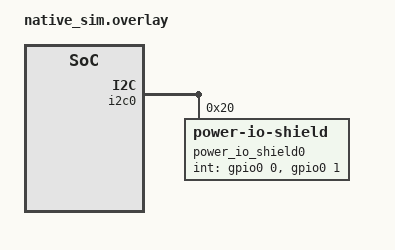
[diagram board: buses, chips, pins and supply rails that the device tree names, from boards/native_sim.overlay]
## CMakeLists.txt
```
# Copyright (C) Frickly Systems GmbH
# Copyright (C) MBition GmbH
#
# SPDX-License-Identifier: Apache-2.0

cmake_minimum_required(VERSION 3.20.0)

find_package(Zephyr REQUIRED HINTS $ENV{ZEPHYR_BASE})

project(test_power_io_shield)

FILE(GLOB app_sources src/*.c)
target_sources(app PRIVATE ${app_sources})
```

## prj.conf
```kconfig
CONFIG_ZTEST=y
CONFIG_ASSERT=y

CONFIG_LOG=y
CONFIG_LOG_INFO_COLOR_GREEN=y

CONFIG_I2C=y
CONFIG_GPIO=y
CONFIG_POWER_IO_SHIELD=y

CONFIG_EMUL=y
CONFIG_EMUL_POWER_IO_SHIELD=y
```

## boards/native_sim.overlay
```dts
/*
 * Copyright (C) Frickly Systems GmbH
 * Copyright (C) MBition GmbH
 *
 * SPDX-License-Identifier: Apache-2.0
 */

&i2c0 {
	power_io_shield0: power_io_shield0@20 {
		compatible = "power-io-shield";
		int-gpios = <&gpio0 0 GPIO_ACTIVE_HIGH>, <&gpio0 1 GPIO_ACTIVE_HIGH>;
		reg = <0x20>;
		gpio-controller;
		#gpio-cells = <2>;
	};
};
```

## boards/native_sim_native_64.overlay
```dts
/*
 * Copyright (C) Frickly Systems GmbH
 * Copyright (C) MBition GmbH
 *
 * SPDX-License-Identifier: Apache-2.0
 */
 
#include "native_sim.overlay"
```

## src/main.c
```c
/*
 * Copyright (C) Frickly Systems GmbH
 * Copyright (C) MBition GmbH
 *
 * SPDX-License-Identifier: Apache-2.0
 */

#include "devices.h"
#include "regs.h"

#include <zephyr/drivers/gpio.h>
#include <zephyr/drivers/gpio/gpio_emul.h>
#include <zephyr/fff.h>
#include <zephyr/ztest.h>

#include <ardep/drivers/emul/power_io_shield.h>
#include <ardep/dt-bindings/power-io-shield.h>

DEFINE_FFF_GLOBALS;

ZTEST_SUITE(mcp_driver, NULL, NULL, NULL, NULL, NULL);

ZTEST(mcp_driver, test_iodir_and_iocon_init) {
  zassert_equal(
      power_io_shield_emul_get_u16_reg(power_io_shield_emul, REG_IODIRA),
      0x7F03);
  zassert_equal(
      power_io_shield_emul_get_u16_reg(power_io_shield_emul, REG_IOCONA),
      0x4444);
}

ZTEST(mcp_driver, test_set_output_0) {
  zassert_equal(gpio_pin_set(power_io_shield, POWER_IO_SHIELD_OUTPUT(0), 1), 0);
  zassert_equal(
      power_io_shield_emul_get_u16_reg(power_io_shield_emul, REG_GPIOA),
      0x0004);  // Bank A: 0x04, Bank B: 0x00

  zassert_equal(gpio_pin_set(power_io_shield, POWER_IO_SHIELD_OUTPUT(0), 0), 0);
  zassert_equal(
      power_io_shield_emul_get_u16_reg(power_io_shield_emul, REG_GPIOA),
      0x0000);
}

ZTEST(mcp_driver, test_set_output_5) {
  zassert_equal(gpio_pin_set(power_io_shield, POWER_IO_SHIELD_OUTPUT(5), 1), 0);
  zassert_equal(
      power_io_shield_emul_get_u16_reg(power_io_shield_emul, REG_GPIOA),
      0x0080);  // Bank A: 0x80, Bank B: 0x00

  zassert_equal(gpio_pin_set(power_io_shield, POWER_IO_SHIELD_OUTPUT(5), 0), 0);
  zassert_equal(
      power_io_shield_emul_get_u16_reg(power_io_shield_emul, REG_GPIOA),
      0x0000);
}

ZTEST(mcp_driver, test_read_inputs_and_faults) {
  gpio_port_value_t value;

  // note the xor for 0x3f00, this is for the hard-inverted input pins
  power_io_shield_emul_set_u16_reg(
      power_io_shield_emul, REG_GPIOA,
      0xD242 ^ 0x3f00);  // set input 1 and 4, fault 0 and 2

  zassert_equal(gpio_port_get(power_io_shield, &value), 0);
  zassert_equal((value >> POWER_IO_SHIELD_INPUT_BASE) & 0x3F, 0b10010);
  zassert_equal((value >> POWER_IO_SHIELD_FAULT_BASE) & 0x7, 0b101);

  power_io_shield_emul_set_u16_reg(power_io_shield_emul, REG_GPIOA,
                                   0x0003 ^ 0x3f00);  // set fault 1 and 2
  zassert_equal(gpio_port_get(power_io_shield, &value), 0);
  zassert_equal((value >> POWER_IO_SHIELD_FAULT_BASE), 0b110);

  // reset register to 0 (inputs are all high then)
  power_io_shield_emul_set_u16_reg(power_io_shield_emul, REG_GPIOA, 0x0000);
  zassert_equal(gpio_port_get(power_io_shield, &value), 0);
  zassert_equal(value, 0x3f << POWER_IO_SHIELD_INPUT_BASE);
}

ZTEST(mcp_driver, test_configure_outputs) {
  // configure with active flag (meaning active on configure)
  zassert_equal(gpio_pin_configure(power_io_shield, POWER_IO_SHIELD_OUTPUT(0),
                                   GPIO_OUTPUT_ACTIVE),
                0);
  zassert_equal(
      power_io_shield_emul_get_u16_reg(power_io_shield_emul, REG_GPIOA),
      0x0004);

  // reconfigure without ACTIVE flag
  zassert_equal(gpio_pin_configure(power_io_shield, POWER_IO_SHIELD_OUTPUT(0),
                                   GPIO_OUTPUT),
                0);

  zassert_equal(
      power_io_shield_emul_get_u16_reg(power_io_shield_emul, REG_GPIOA),
      0x0000);

  // try to configure with invalid flags
  zassert_not_equal(gpio_pin_configure(power_io_shield,
                                       POWER_IO_SHIELD_OUTPUT(0), GPIO_INPUT),
                    0);
  zassert_not_equal(
      gpio_pin_configure(power_io_shield, POWER_IO_SHIELD_OUTPUT(0),
                         GPIO_OUTPUT | GPIO_OPEN_DRAIN),
      0);
  zassert_not_equal(
      gpio_pin_configure(power_io_shield, POWER_IO_SHIELD_OUTPUT(0),
                         GPIO_OUTPUT | GPIO_PULL_UP),
      0);
  zassert_not_equal(
      gpio_pin_configure(power_io_shield, POWER_IO_SHIELD_OUTPUT(0),
                         GPIO_OUTPUT | GPIO_PULL_DOWN),
      0);
}

ZTEST(mcp_driver, test_configure_inputs) {
  zassert_equal(
      gpio_pin_configure(power_io_shield, POWER_IO_SHIELD_INPUT(0), GPIO_INPUT),
      0);
  zassert_not_equal(
      gpio_pin_configure(power_io_shield, POWER_IO_SHIELD_INPUT(0),
                         GPIO_INPUT | GPIO_PULL_DOWN),
      0);
  zassert_not_equal(
      gpio_pin_configure(power_io_shield, POWER_IO_SHIELD_INPUT(0),
                         GPIO_INPUT | GPIO_PULL_UP),
      0);
  zassert_not_equal(gpio_pin_configure(power_io_shield,
                                       POWER_IO_SHIELD_INPUT(0), GPIO_OUTPUT),
                    0);
}

ZTEST(mcp_driver, test_setting_input_pin_is_ignored) {
  zassert_equal(gpio_pin_set(power_io_shield, POWER_IO_SHIELD_INPUT(0), 1), 0);
  zassert_equal(gpio_pin_set(power_io_shield, POWER_IO_SHIELD_INPUT(4), 1), 0);
  zassert_equal(
      power_io_shield_emul_get_u16_reg(power_io_shield_emul, REG_GPIOA),
      0x0000);
}

ZTEST(mcp_driver, test_setting_fault_pin_is_ignored) {
  zassert_equal(gpio_pin_set(power_io_shield, POWER_IO_SHIELD_FAULT(0), 1), 0);
  zassert_equal(gpio_pin_set(power_io_shield, POWER_IO_SHIELD_FAULT(2), 1), 0);
  zassert_equal(
      power_io_shield_emul_get_u16_reg(power_io_shield_emul, REG_GPIOA),
      0x0000);
}
```

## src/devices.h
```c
/*
 * Copyright (C) Frickly Systems GmbH
 * Copyright (C) MBition GmbH
 *
 * SPDX-License-Identifier: Apache-2.0
 */

#include <zephyr/device.h>
#include <zephyr/drivers/emul.h>
#include <zephyr/drivers/gpio.h>
#include <zephyr/drivers/gpio/gpio_emul.h>

static const struct device* power_io_shield =
    DEVICE_DT_GET(DT_NODELABEL(power_io_shield0));
static const struct emul* power_io_shield_emul =
    EMUL_DT_GET(DT_NODELABEL(power_io_shield0));
```

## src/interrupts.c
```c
/*
 * Copyright (C) Frickly Systems GmbH
 * Copyright (C) MBition GmbH
 *
 * SPDX-License-Identifier: Apache-2.0
 */

#include "devices.h"
#include "regs.h"

#include <zephyr/drivers/gpio.h>
#include <zephyr/drivers/gpio/gpio_emul.h>
#include <zephyr/fff.h>
#include <zephyr/ztest.h>

#include <ardep/drivers/emul/power_io_shield.h>
#include <ardep/dt-bindings/power-io-shield.h>

static const struct device* gpio0 = DEVICE_DT_GET(DT_NODELABEL(gpio0));

FAKE_VOID_FUNC(gpio_demo_interrupt,
               const struct device*,
               struct gpio_callback*,
               gpio_port_pins_t);

static void after_each() { RESET_FAKE(gpio_demo_interrupt); }

ZTEST_SUITE(mcp_driver_interrupts, NULL, NULL, NULL, after_each, NULL);

ZTEST(mcp_driver_interrupts,
      test_configuring_output_as_interrput_is_not_supported) {
  zassert_equal(
      gpio_pin_interrupt_configure(power_io_shield, POWER_IO_SHIELD_OUTPUT(0),
                                   GPIO_INT_EDGE_TO_ACTIVE),
      -ENOTSUP);
}

ZTEST(mcp_driver_interrupts, test_rising_edge_interrupt) {
  struct gpio_callback callback;
  gpio_init_callback(&callback, gpio_demo_interrupt,
                     BIT(POWER_IO_SHIELD_INPUT(0)));
  zassert_equal(gpio_add_callback(power_io_shield, &callback), 0);

  zassert_equal(
      gpio_pin_interrupt_configure(power_io_shield, POWER_IO_SHIELD_INPUT(0),
                                   GPIO_INT_EDGE_TO_ACTIVE),
      0);

  // Interrupt should be configured for the chip
  zassert_equal(
      power_io_shield_emul_get_u16_reg(power_io_shield_emul, REG_GPINTENA),
      0x0100);  // gpinten
  zassert_equal(
      power_io_shield_emul_get_u16_reg(power_io_shield_emul, REG_INTCONA),
      0x0000);  // intcon
  zassert_equal(
      power_io_shield_emul_get_u16_reg(power_io_shield_emul, REG_DEFVALA),
      0x0000);  // defval

  // nothing should happen when not INTF is set
  zassert_equal(gpio_emul_input_set(gpio0, 0, 1), 0);
  k_yield();
  zassert_equal(gpio_emul_input_set(gpio0, 0, 0), 0);
  zassert_equal(gpio_demo_interrupt_fake.call_count, 0);

  // set INTF and INTCAP to simulate rising edge interrupt

  // note the inversion for the input pins (0x3f00)
  power_io_shield_emul_set_u16_reg(power_io_shield_emul, REG_INTFA,
                                   0x0100);  // input pin 0
  power_io_shield_emul_set_u16_reg(power_io_shield_emul, REG_INTCAPA,
                                   0x0100 ^ 0x3f00);  // input pin 0

  // set interrupt gpio to 1
  zassert_equal(gpio_emul_input_set(gpio0, 0, 1), 0);
  k_yield();
  zassert_equal(gpio_demo_interrupt_fake.call_count, 1);
  zassert_equal(gpio_demo_interrupt_fake.arg0_val, power_io_shield);
  zassert_equal(gpio_demo_interrupt_fake.arg1_val, &callback);
  zassert_equal(gpio_demo_interrupt_fake.arg2_val,
                BIT(POWER_IO_SHIELD_INPUT(0)));
  k_msleep(10);  // wait a bit to check that no further ISR calls happen
  zassert_equal(gpio_emul_input_set(gpio0, 0, 0), 0);
  k_msleep(10);
  zassert_equal(gpio_demo_interrupt_fake.call_count, 1);

  // reset
  power_io_shield_emul_set_reg(power_io_shield_emul, 0x11, 0x00);
  power_io_shield_emul_set_reg(power_io_shield_emul, 0x0F, 0x00);

  zassert_equal(gpio_remove_callback(power_io_shield, &callback), 0);
  zassert_equal(
      gpio_pin_interrupt_configure(power_io_shield, POWER_IO_SHIELD_INPUT(0),
                                   GPIO_INT_DISABLE),
      0);
}

ZTEST(mcp_driver_interrupts, test_fault_interrupt) {
  struct gpio_callback callback;
  gpio_init_callback(
      &callback, gpio_demo_interrupt,
      BIT(POWER_IO_SHIELD_FAULT(0)) | BIT(POWER_IO_SHIELD_FAULT(1)));
  zassert_equal(gpio_add_callback(power_io_shield, &callback), 0);

  zassert_equal(
      gpio_pin_interrupt_configure(power_io_shield, POWER_IO_SHIELD_FAULT(0),
                                   GPIO_INT_EDGE_TO_ACTIVE),
      0);
  zassert_equal(
      gpio_pin_interrupt_configure(power_io_shield, POWER_IO_SHIELD_FAULT(1),
                                   GPIO_INT_EDGE_TO_ACTIVE),
      0);

  // Interrupt should be configured for the chip
  zassert_equal(
      power_io_shield_emul_get_u16_reg(power_io_shield_emul, REG_GPINTENA),
      0x4001);  // gpinten
  zassert_equal(
      power_io_shield_emul_get_u16_reg(power_io_shield_emul, REG_INTCONA),
      0x0000);  // intcon
  zassert_equal(
      power_io_shield_emul_get_u16_reg(power_io_shield_emul, REG_DEFVALA),
      0x0000);  // defval

  // nothing should happen when not INTF is set
  zassert_equal(gpio_emul_input_set(gpio0, 0, 1), 0);
  k_yield();
  zassert_equal(gpio_emul_input_set(gpio0, 0, 0), 0);
  zassert_equal(gpio_demo_interrupt_fake.call_count, 0);

  // set INTF and INTCAP to simulate rising edge interrupt
  power_io_shield_emul_set_u16_reg(power_io_shield_emul, REG_INTFA,
                                   0x4001);  // fault 0 and 1
  power_io_shield_emul_set_u16_reg(power_io_shield_emul, REG_INTCAPA,
                                   0x4001 ^ 0x3f00);  // fault 0 and 1

  // trigger interrupt pin rising
  zassert_equal(gpio_emul_input_set(gpio0, 0, 1), 0);
  k_yield();
  zassert_equal(gpio_demo_interrupt_fake.call_count, 1);
  zassert_equal(gpio_demo_interrupt_fake.arg0_val, power_io_shield);
  zassert_equal(gpio_demo_interrupt_fake.arg1_val, &callback);
  zassert_equal(gpio_demo_interrupt_fake.arg2_val,
                BIT(POWER_IO_SHIELD_FAULT(0)) | BIT(POWER_IO_SHIELD_FAULT(1)));
  zassert_equal(gpio_emul_input_set(gpio0, 0, 0), 0);

  // reset
  power_io_shield_emul_set_u16_reg(power_io_shield_emul, REG_INTFA, 0x0000);
  power_io_shield_emul_set_u16_reg(power_io_shield_emul, REG_INTCAPA, 0x0000);

  zassert_equal(gpio_remove_callback(power_io_shield, &callback), 0);
  zassert_equal(
      gpio_pin_interrupt_configure(power_io_shield, POWER_IO_SHIELD_FAULT(0),
                                   GPIO_INT_DISABLE),
      0);
  zassert_equal(
      gpio_pin_interrupt_configure(power_io_shield, POWER_IO_SHIELD_FAULT(1),
                                   GPIO_INT_DISABLE),
      0);
}

static int counter = 20;
static void demo_interrupt_custom_handler(const struct device* a,
                                          struct gpio_callback* b,
                                          gpio_port_pins_t c) {
  ARG_UNUSED(a);
  ARG_UNUSED(b);
  ARG_UNUSED(c);

  counter--;
  if (counter == 0) {
    power_io_shield_emul_set_u16_reg(power_io_shield_emul, REG_INTFA, 0x0000);
    power_io_shield_emul_set_u16_reg(power_io_shield_emul, REG_INTCAPA, 0x0000);
  }
}

ZTEST(mcp_driver_interrupts, test_level_interrupt) {
  gpio_demo_interrupt_fake.custom_fake = demo_interrupt_custom_handler;

  // note that we use input 1 here

  struct gpio_callback callback;
  gpio_init_callback(&callback, gpio_demo_interrupt,
                     BIT(POWER_IO_SHIELD_INPUT(1)));
  zassert_equal(gpio_add_callback(power_io_shield, &callback), 0);

  zassert_equal(
      gpio_pin_interrupt_configure(power_io_shield, POWER_IO_SHIELD_INPUT(1),
                                   GPIO_INT_LEVEL_HIGH),
      0);

  // Interrupt should be configured for the chip
  zassert_equal(
      power_io_shield_emul_get_u16_reg(power_io_shield_emul, REG_GPINTENA),
      0x0200);  // gpinten
  zassert_equal(
      power_io_shield_emul_get_u16_reg(power_io_shield_emul, REG_INTCONA),
      0x0200);  // intcon
  zassert_equal(
      power_io_shield_emul_get_u16_reg(power_io_shield_emul, REG_DEFVALA),
      0x0200);  // defval

  // nothing should happen when not INTF is set
  zassert_equal(gpio_emul_input_set(gpio0, 0, 1), 0);
  k_yield();
  zassert_equal(gpio_emul_input_set(gpio0, 0, 0), 0);
  zassert_equal(gpio_demo_interrupt_fake.call_count, 0);

  // set INTF and INTCAP to simulate level high interrupt
  power_io_shield_emul_set_u16_reg(power_io_shield_emul, REG_INTFA,
                                   0x0200);  // input pin 1
  power_io_shield_emul_set_u16_reg(power_io_shield_emul, REG_INTCAPA,
                                   0x0200 ^ 0x3f00);  // input pin 1

  // set interrupt gpio to 1
  zassert_equal(gpio_emul_input_set(gpio0, 0, 1), 0);
  k_msleep(1);
  // driver now does its thing and calls the interrupt handler and after 20
  // times, the handler resets the intf which stops further interrupts then we
  // jump back here as the wq is then empty

  // the interrupt handler should only be called 20 times, not more or less
  zassert_true(gpio_demo_interrupt_fake.call_count == 20);
  zassert_true(counter == 0);

  // check that the registers were reset
  zassert_equal(
      power_io_shield_emul_get_u16_reg(power_io_shield_emul, REG_INTFA),
      0x0000);
  zassert_equal(
      power_io_shield_emul_get_u16_reg(power_io_shield_emul, REG_INTCAPA),
      0x0000);
  k_msleep(1);
  zassert_equal(gpio_emul_input_set(gpio0, 0, 0), 0);

  zassert_true(gpio_demo_interrupt_fake.call_count == 20);

  zassert_equal(gpio_remove_callback(power_io_shield, &callback), 0);
  zassert_equal(
      gpio_pin_interrupt_configure(power_io_shield, POWER_IO_SHIELD_INPUT(1),
                                   GPIO_INT_DISABLE),
      0);
}
```

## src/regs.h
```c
/*
 * Copyright (C) Frickly Systems GmbH
 * Copyright (C) MBition GmbH
 *
 * SPDX-License-Identifier: Apache-2.0
 */

#define REG_IODIRA 0x00
#define REG_GPINTENA 0x04
#define REG_DEFVALA 0x06
#define REG_INTCONA 0x08
#define REG_IOCONA 0x0A
#define REG_INTFA 0x0E
#define REG_INTCAPA 0x10
#define REG_GPIOA 0x12
```
